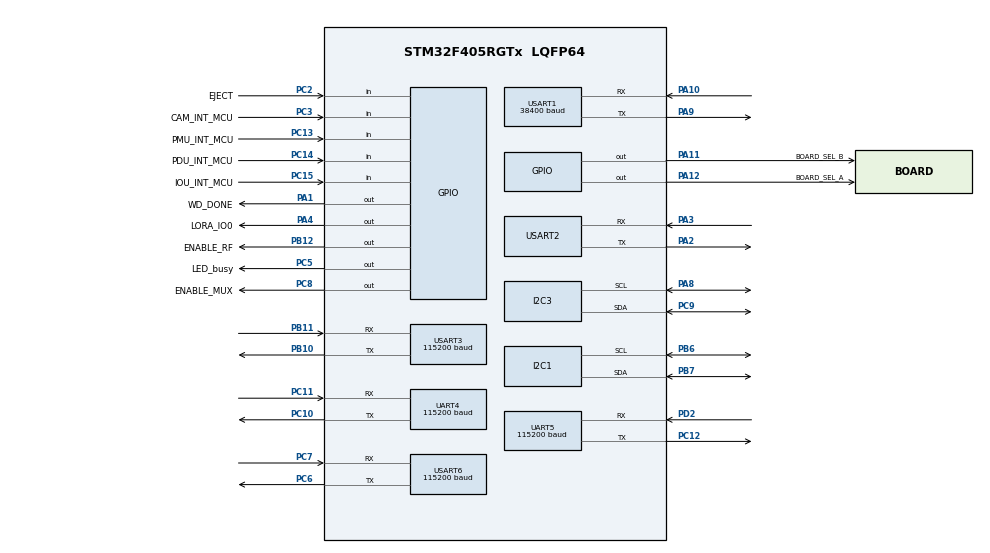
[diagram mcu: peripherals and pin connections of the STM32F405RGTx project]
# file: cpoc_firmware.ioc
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I2C1.I2C_Mode=I2C_Fast
I2C3.I2C_Mode=I2C_Fast
Mcu.Family=STM32F4
Mcu.Name=STM32F405RGTx
Mcu.Package=LQFP64
NVIC.I2C3_ER_IRQn=true\:0\:0\:false\:false\:true\:true\:true\:true
NVIC.I2C3_EV_IRQn=true\:0\:0\:false\:false\:true\:true\:true\:true
NVIC.PriorityGroup=NVIC_PRIORITYGROUP_4
NVIC.UART4_IRQn=true\:0\:0\:false\:false\:true\:true\:true\:true
NVIC.UART5_IRQn=true\:0\:0\:false\:false\:true\:true\:true\:true
NVIC.USART1_IRQn=true\:0\:0\:false\:false\:true\:true\:true\:true
NVIC.USART2_IRQn=true\:0\:0\:false\:false\:true\:true\:true\:true
NVIC.USART3_IRQn=true\:0\:0\:false\:false\:true\:true\:true\:true
NVIC.USART6_IRQn=true\:0\:0\:false\:false\:true\:true\:true\:true
PA1.GPIO_Label=WD_DONE
PA1.Signal=GPIO_Output
PA10.Mode=Asynchronous
PA10.Signal=USART1_RX
PA11.GPIO_Label=BOARD_SEL_B
PA11.Signal=GPIO_Output
PA12.GPIO_Label=BOARD_SEL_A
PA12.Signal=GPIO_Output
PA2.Mode=Asynchronous
PA2.Signal=USART2_TX
PA3.Mode=Asynchronous
PA3.Signal=USART2_RX
PA4.GPIO_Label=LORA_IO0
PA4.Signal=GPIO_Output
PA8.Mode=I2C
PA8.Signal=I2C3_SCL
PA9.Mode=Asynchronous
PA9.Signal=USART1_TX
PB10.Mode=Asynchronous
PB10.Signal=USART3_TX
PB11.Mode=Asynchronous
PB11.Signal=USART3_RX
PB12.GPIO_Label=ENABLE_RF
PB12.Signal=GPIO_Output
PB6.Mode=I2C
PB6.Signal=I2C1_SCL
PB7.Mode=I2C
PB7.Signal=I2C1_SDA
PC10.Mode=Asynchronous
PC10.Signal=UART4_TX
PC11.Mode=Asynchronous
PC11.Signal=UART4_RX
PC12.Mode=Asynchronous
PC12.Signal=UART5_TX
PC13-ANTI_TAMP.GPIO_Label=PMU_INT_MCU
PC13-ANTI_TAMP.Signal=GPIO_Input
PC14-OSC32_IN.GPIO_Label=PDU_INT_MCU
PC14-OSC32_IN.Signal=GPIO_Input
PC15-OSC32_OUT.GPIO_Label=IOU_INT_MCU
PC15-OSC32_OUT.Signal=GPIO_Input
PC2.GPIO_Label=EJECT
PC2.Signal=GPIO_Input
PC3.GPIO_Label=CAM_INT_MCU
PC3.Signal=GPIO_Input
PC5.GPIO_Label=LED_busy
PC5.Signal=GPIO_Output
PC6.Mode=Asynchronous
PC6.Signal=USART6_TX
PC7.Mode=Asynchronous
PC7.Signal=USART6_RX
PC8.GPIO_Label=ENABLE_MUX
PC8.Signal=GPIO_Output
PC9.Mode=I2C
PC9.Signal=I2C3_SDA
PD2.Mode=Asynchronous
PD2.Signal=UART5_RX
PH0-OSC_IN.Mode=HSE-External-Oscillator
PH0-OSC_IN.Signal=RCC_OSC_IN
PH1-OSC_OUT.Mode=HSE-External-Oscillator
PH1-OSC_OUT.Signal=RCC_OSC_OUT
ProjectManager.HeapSize=0x200
ProjectManager.StackSize=0x400
ProjectManager.TargetToolchain=STM32CubeIDE
RCC.48MHZClocksFreq_Value=96000000
RCC.AHBCLKDivider=RCC_SYSCLK_DIV2
RCC.AHBFreq_Value=48000000
RCC.APB1CLKDivider=RCC_HCLK_DIV2
RCC.APB1Freq_Value=24000000
RCC.APB1TimFreq_Value=48000000
RCC.APB2Freq_Value=48000000
RCC.APB2TimFreq_Value=48000000
RCC.CortexFreq_Value=48000000
RCC.HCLKFreq_Value=48000000
RCC.HSE_VALUE=8000000
RCC.HSI_VALUE=16000000
RCC.LSE_VALUE=32768
RCC.PLLM=4
RCC.PLLP=RCC_PLLP_DIV4
RCC.PLLSourceVirtual=RCC_PLLSOURCE_HSE
RCC.SYSCLKFreq_VALUE=96000000
RCC.SYSCLKSource=RCC_SYSCLKSOURCE_PLLCLK
RCC.VCOOutputFreq_Value=384000000
UART4.BaudRate=115200
UART4.VirtualMode=Asynchronous
UART5.BaudRate=115200
UART5.VirtualMode=Asynchronous
USART1.BaudRate=38400
USART1.VirtualMode=VM_ASYNC
USART2.VirtualMode=VM_ASYNC
USART3.BaudRate=115200
USART3.VirtualMode=VM_ASYNC
USART6.BaudRate=115200
USART6.VirtualMode=VM_ASYNC
board=custom

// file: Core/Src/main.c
/* USER CODE BEGIN Header */
/**
  ******************************************************************************
  * @file           : main.c
  * @brief          : Main program body
  ******************************************************************************
  * @attention
  *
  * Copyright (c) 2024 STMicroelectronics.
  * All rights reserved.
  *
  * This software is licensed under terms that can be found in the LICENSE file
  * in the root directory of this software component.
  * If no LICENSE file comes with this software, it is provided AS-IS.
  *
  ******************************************************************************
  */
/* USER CODE END Header */
#include "main.h"

/* USER CODE BEGIN Includes */
#include "../../Scheduler/scheduler.h"
#include "../LED/status_led.h"
#include "../../BSP/UART/uart.h"
#include "../CMDLine/cmdline.h"
#include "../CMDLine/command.h"
#include "../WATCHDOG/watchdog.h"
#include "../../ThirdParty/libfsp/fsp.h"
#include "../CMDLine/ACK_packet/ACKsend_packet.h"
#include "../../Core/CPOC/CPOC.h"
#include "../CMDLine/global_vars.h"
#include "../CMDLine/rs422.h"

#include "../CMDLine/cmd_IOU/iou_cmd.h"
#include "../CMDLine/cmd_PMU/PMU_cmd.h"
#include "../CMDLine/cmd_PDU/PDU_cmd.h"
#include "../GPS/gps.h"
#include "../IMG_I2C/img_i2c.h"

/* USER CODE END Includes */

void SystemClock_Config(void);
static void MX_GPIO_Init(void);
static void MX_I2C1_Init(void);
static void MX_USART6_UART_Init(void);
static void MX_UART5_Init(void);
static void MX_USART1_UART_Init(void);
static void MX_UART4_Init(void);
static void MX_USART3_UART_Init(void);
static void MX_I2C3_Init(void);
static void MX_USART2_UART_Init(void);

int main(void)
{

  /* MCU Configuration--------------------------------------------------------*/

  /* Reset of all peripherals, Initializes the Flash interface and the Systick. */
  LL_APB2_GRP1_EnableClock(LL_APB2_GRP1_PERIPH_SYSCFG);
  LL_APB1_GRP1_EnableClock(LL_APB1_GRP1_PERIPH_PWR);

  /* System interrupt init*/
  NVIC_SetPriorityGrouping(NVIC_PRIORITYGROUP_4);

  /* SysTick_IRQn interrupt configuration */
  NVIC_SetPriority(SysTick_IRQn, NVIC_EncodePriority(NVIC_GetPriorityGrouping(),15, 0));

  /* Configure the system clock */
  SystemClock_Config();

  /* Initialize all configured peripherals */
  MX_GPIO_Init();
  MX_I2C1_Init();
  MX_USART6_UART_Init();
  MX_UART5_Init();
  MX_USART1_UART_Init();
  MX_UART4_Init();
  MX_USART3_UART_Init();
  MX_I2C3_Init();
  MX_USART2_UART_Init();
  /* USER CODE BEGIN 2 */

  command_init();

  fsp_init(FSP_ADR_CPOC);
  LL_GPIO_ResetOutputPin(GPIOC, ENABLE_MUX_Pin);

  status_led_init();

  WDT_init();

  SCH_Initialize();

  status_led_create_task();

  send_packet_init();
  send_packet_create_task();

  command_create_task();

  COPC_create_task();

  WDT_create_task();

  IOU_create_task();
  PMU_create_task();
  PDU_create_task();
  rs422_create_task();
  GPS_create_task();
  I2C_img_create_task();

  SCH_StartSchedular();
  /* USER CODE END 2 */

  /* Infinite loop */
  while (1)
  {

    /* USER CODE BEGIN 3 */
	  SCH_HandleScheduledTask();
  }
  /* USER CODE END 3 */
}

void SystemClock_Config(void)
{
  LL_FLASH_SetLatency(LL_FLASH_LATENCY_1);
  while(LL_FLASH_GetLatency()!= LL_FLASH_LATENCY_1)
  {
  }
  LL_PWR_SetRegulVoltageScaling(LL_PWR_REGU_VOLTAGE_SCALE1);
  LL_RCC_HSE_Enable();

   /* Wait till HSE is ready */
  while(LL_RCC_HSE_IsReady() != 1)
  {

  }
  LL_RCC_PLL_ConfigDomain_SYS(LL_RCC_PLLSOURCE_HSE, LL_RCC_PLLM_DIV_4, 192, LL_RCC_PLLP_DIV_4);
  LL_RCC_PLL_Enable();

   /* Wait till PLL is ready */
  while(LL_RCC_PLL_IsReady() != 1)
  {

  }
  while (LL_PWR_IsActiveFlag_VOS() == 0)
  {
  }
  LL_RCC_SetAHBPrescaler(LL_RCC_SYSCLK_DIV_2);
  LL_RCC_SetAPB1Prescaler(LL_RCC_APB1_DIV_2);
  LL_RCC_SetAPB2Prescaler(LL_RCC_APB2_DIV_1);
  LL_RCC_SetSysClkSource(LL_RCC_SYS_CLKSOURCE_PLL);

   /* Wait till System clock is ready */
  while(LL_RCC_GetSysClkSource() != LL_RCC_SYS_CLKSOURCE_STATUS_PLL)
  {

  }
  LL_Init1msTick(48000000);
  LL_SetSystemCoreClock(48000000);
}

static void MX_I2C1_Init(void)
{

  LL_I2C_InitTypeDef I2C_InitStruct = {0};

  LL_GPIO_InitTypeDef GPIO_InitStruct = {0};

  LL_AHB1_GRP1_EnableClock(LL_AHB1_GRP1_PERIPH_GPIOB);
  /**I2C1 GPIO Configuration
  PB6   ------> I2C1_SCL
  PB7   ------> I2C1_SDA
  */
  GPIO_InitStruct.Pin = LL_GPIO_PIN_6|LL_GPIO_PIN_7;
  GPIO_InitStruct.Mode = LL_GPIO_MODE_ALTERNATE;
  GPIO_InitStruct.Speed = LL_GPIO_SPEED_FREQ_VERY_HIGH;
  GPIO_InitStruct.OutputType = LL_GPIO_OUTPUT_OPENDRAIN;
  GPIO_InitStruct.Pull = LL_GPIO_PULL_NO;
  GPIO_InitStruct.Alternate = LL_GPIO_AF_4;
  LL_GPIO_Init(GPIOB, &GPIO_InitStruct);

  /* Peripheral clock enable */
  LL_APB1_GRP1_EnableClock(LL_APB1_GRP1_PERIPH_I2C1);

  /** I2C Initialization
  */
  LL_I2C_DisableOwnAddress2(I2C1);
  LL_I2C_DisableGeneralCall(I2C1);
  LL_I2C_EnableClockStretching(I2C1);
  I2C_InitStruct.PeripheralMode = LL_I2C_MODE_I2C;
  I2C_InitStruct.ClockSpeed = 400000;
  I2C_InitStruct.DutyCycle = LL_I2C_DUTYCYCLE_2;
  I2C_InitStruct.OwnAddress1 = 0;
  I2C_InitStruct.TypeAcknowledge = LL_I2C_ACK;
  I2C_InitStruct.OwnAddrSize = LL_I2C_OWNADDRESS1_7BIT;
  LL_I2C_Init(I2C1, &I2C_InitStruct);
  LL_I2C_SetOwnAddress2(I2C1, 0);

}

static void MX_I2C3_Init(void)
{

  LL_I2C_InitTypeDef I2C_InitStruct = {0};

  LL_GPIO_InitTypeDef GPIO_InitStruct = {0};

  LL_AHB1_GRP1_EnableClock(LL_AHB1_GRP1_PERIPH_GPIOC);
  LL_AHB1_GRP1_EnableClock(LL_AHB1_GRP1_PERIPH_GPIOA);
  /**I2C3 GPIO Configuration
  PC9   ------> I2C3_SDA
  PA8   ------> I2C3_SCL
  */
  GPIO_InitStruct.Pin = LL_GPIO_PIN_9;
  GPIO_InitStruct.Mode = LL_GPIO_MODE_ALTERNATE;
  GPIO_InitStruct.Speed = LL_GPIO_SPEED_FREQ_VERY_HIGH;
  GPIO_InitStruct.OutputType = LL_GPIO_OUTPUT_OPENDRAIN;
  GPIO_InitStruct.Pull = LL_GPIO_PULL_NO;
  GPIO_InitStruct.Alternate = LL_GPIO_AF_4;
  LL_GPIO_Init(GPIOC, &GPIO_InitStruct);

  GPIO_InitStruct.Pin = LL_GPIO_PIN_8;
  GPIO_InitStruct.Mode = LL_GPIO_MODE_ALTERNATE;
  GPIO_InitStruct.Speed = LL_GPIO_SPEED_FREQ_VERY_HIGH;
  GPIO_InitStruct.OutputType = LL_GPIO_OUTPUT_OPENDRAIN;
  GPIO_InitStruct.Pull = LL_GPIO_PULL_NO;
  GPIO_InitStruct.Alternate = LL_GPIO_AF_4;
  LL_GPIO_Init(GPIOA, &GPIO_InitStruct);

  /* Peripheral clock enable */
  LL_APB1_GRP1_EnableClock(LL_APB1_GRP1_PERIPH_I2C3);

  /* I2C3 interrupt Init */
  NVIC_SetPriority(I2C3_EV_IRQn, NVIC_EncodePriority(NVIC_GetPriorityGrouping(),0, 0));
  NVIC_EnableIRQ(I2C3_EV_IRQn);
  NVIC_SetPriority(I2C3_ER_IRQn, NVIC_EncodePriority(NVIC_GetPriorityGrouping(),0, 0));
  NVIC_EnableIRQ(I2C3_ER_IRQn);

  /** I2C Initialization
  */
  LL_I2C_DisableOwnAddress2(I2C3);
  LL_I2C_DisableGeneralCall(I2C3);
  LL_I2C_EnableClockStretching(I2C3);
  I2C_InitStruct.PeripheralMode = LL_I2C_MODE_I2C;
  I2C_InitStruct.ClockSpeed = 400000;
  I2C_InitStruct.DutyCycle = LL_I2C_DUTYCYCLE_2;
  I2C_InitStruct.OwnAddress1 = 0;
  I2C_InitStruct.TypeAcknowledge = LL_I2C_ACK;
  I2C_InitStruct.OwnAddrSize = LL_I2C_OWNADDRESS1_7BIT;
  LL_I2C_Init(I2C3, &I2C_InitStruct);
  LL_I2C_SetOwnAddress2(I2C3, 0);

}

static void MX_UART4_Init(void)
{

  LL_USART_InitTypeDef USART_InitStruct = {0};

  LL_GPIO_InitTypeDef GPIO_InitStruct = {0};

  /* Peripheral clock enable */
  LL_APB1_GRP1_EnableClock(LL_APB1_GRP1_PERIPH_UART4);

  LL_AHB1_GRP1_EnableClock(LL_AHB1_GRP1_PERIPH_GPIOC);
  /**UART4 GPIO Configuration
  PC10   ------> UART4_TX
  PC11   ------> UART4_RX
  */
  GPIO_InitStruct.Pin = LL_GPIO_PIN_10|LL_GPIO_PIN_11;
  GPIO_InitStruct.Mode = LL_GPIO_MODE_ALTERNATE;
  GPIO_InitStruct.Speed = LL_GPIO_SPEED_FREQ_VERY_HIGH;
  GPIO_InitStruct.OutputType = LL_GPIO_OUTPUT_PUSHPULL;
  GPIO_InitStruct.Pull = LL_GPIO_PULL_NO;
  GPIO_InitStruct.Alternate = LL_GPIO_AF_8;
  LL_GPIO_Init(GPIOC, &GPIO_InitStruct);

  /* UART4 interrupt Init */
  NVIC_SetPriority(UART4_IRQn, NVIC_EncodePriority(NVIC_GetPriorityGrouping(),0, 0));
  NVIC_EnableIRQ(UART4_IRQn);

  USART_InitStruct.BaudRate = 115200;
  USART_InitStruct.DataWidth = LL_USART_DATAWIDTH_8B;
  USART_InitStruct.StopBits = LL_USART_STOPBITS_1;
  USART_InitStruct.Parity = LL_USART_PARITY_NONE;
  USART_InitStruct.TransferDirection = LL_USART_DIRECTION_TX_RX;
  USART_InitStruct.HardwareFlowControl = LL_USART_HWCONTROL_NONE;
  USART_InitStruct.OverSampling = LL_USART_OVERSAMPLING_16;
  LL_USART_Init(UART4, &USART_InitStruct);
  LL_USART_ConfigAsyncMode(UART4);
  LL_USART_Enable(UART4);

}

static void MX_UART5_Init(void)
{

  LL_USART_InitTypeDef USART_InitStruct = {0};

  LL_GPIO_InitTypeDef GPIO_InitStruct = {0};

  /* Peripheral clock enable */
  LL_APB1_GRP1_EnableClock(LL_APB1_GRP1_PERIPH_UART5);

  LL_AHB1_GRP1_EnableClock(LL_AHB1_GRP1_PERIPH_GPIOC);
  LL_AHB1_GRP1_EnableClock(LL_AHB1_GRP1_PERIPH_GPIOD);
  /**UART5 GPIO Configuration
  PC12   ------> UART5_TX
  PD2   ------> UART5_RX
  */
  GPIO_InitStruct.Pin = LL_GPIO_PIN_12;
  GPIO_InitStruct.Mode = LL_GPIO_MODE_ALTERNATE;
  GPIO_InitStruct.Speed = LL_GPIO_SPEED_FREQ_VERY_HIGH;
  GPIO_InitStruct.OutputType = LL_GPIO_OUTPUT_PUSHPULL;
  GPIO_InitStruct.Pull = LL_GPIO_PULL_NO;
  GPIO_InitStruct.Alternate = LL_GPIO_AF_8;
  LL_GPIO_Init(GPIOC, &GPIO_InitStruct);

  GPIO_InitStruct.Pin = LL_GPIO_PIN_2;
  GPIO_InitStruct.Mode = LL_GPIO_MODE_ALTERNATE;
  GPIO_InitStruct.Speed = LL_GPIO_SPEED_FREQ_VERY_HIGH;
  GPIO_InitStruct.OutputType = LL_GPIO_OUTPUT_PUSHPULL;
  GPIO_InitStruct.Pull = LL_GPIO_PULL_NO;
  GPIO_InitStruct.Alternate = LL_GPIO_AF_8;
  LL_GPIO_Init(GPIOD, &GPIO_InitStruct);

  /* UART5 interrupt Init */
  NVIC_SetPriority(UART5_IRQn, NVIC_EncodePriority(NVIC_GetPriorityGrouping(),0, 0));
  NVIC_EnableIRQ(UART5_IRQn);

  USART_InitStruct.BaudRate = 115200;
  USART_InitStruct.DataWidth = LL_USART_DATAWIDTH_8B;
  USART_InitStruct.StopBits = LL_USART_STOPBITS_1;
  USART_InitStruct.Parity = LL_USART_PARITY_NONE;
  USART_InitStruct.TransferDirection = LL_USART_DIRECTION_TX_RX;
  USART_InitStruct.HardwareFlowControl = LL_USART_HWCONTROL_NONE;
  USART_InitStruct.OverSampling = LL_USART_OVERSAMPLING_16;
  LL_USART_Init(UART5, &USART_InitStruct);
  LL_USART_ConfigAsyncMode(UART5);
  LL_USART_Enable(UART5);

}

static void MX_USART1_UART_Init(void)
{

  LL_USART_InitTypeDef USART_InitStruct = {0};

  LL_GPIO_InitTypeDef GPIO_InitStruct = {0};

  /* Peripheral clock enable */
  LL_APB2_GRP1_EnableClock(LL_APB2_GRP1_PERIPH_USART1);

  LL_AHB1_GRP1_EnableClock(LL_AHB1_GRP1_PERIPH_GPIOA);
  /**USART1 GPIO Configuration
  PA9   ------> USART1_TX
  PA10   ------> USART1_RX
  */
  GPIO_InitStruct.Pin = LL_GPIO_PIN_9|LL_GPIO_PIN_10;
  GPIO_InitStruct.Mode = LL_GPIO_MODE_ALTERNATE;
  GPIO_InitStruct.Speed = LL_GPIO_SPEED_FREQ_VERY_HIGH;
  GPIO_InitStruct.OutputType = LL_GPIO_OUTPUT_PUSHPULL;
  GPIO_InitStruct.Pull = LL_GPIO_PULL_NO;
  GPIO_InitStruct.Alternate = LL_GPIO_AF_7;
  LL_GPIO_Init(GPIOA, &GPIO_InitStruct);

  /* USART1 interrupt Init */
  NVIC_SetPriority(USART1_IRQn, NVIC_EncodePriority(NVIC_GetPriorityGrouping(),0, 0));
  NVIC_EnableIRQ(USART1_IRQn);

  USART_InitStruct.BaudRate = 38400;
  USART_InitStruct.DataWidth = LL_USART_DATAWIDTH_8B;
  USART_InitStruct.StopBits = LL_USART_STOPBITS_1;
  USART_InitStruct.Parity = LL_USART_PARITY_NONE;
  USART_InitStruct.TransferDirection = LL_USART_DIRECTION_TX_RX;
  USART_InitStruct.HardwareFlowControl = LL_USART_HWCONTROL_NONE;
  USART_InitStruct.OverSampling = LL_USART_OVERSAMPLING_16;
  LL_USART_Init(USART1, &USART_InitStruct);
  LL_USART_ConfigAsyncMode(USART1);
  LL_USART_Enable(USART1);

}

static void MX_USART2_UART_Init(void)
{

  LL_USART_InitTypeDef USART_InitStruct = {0};

  LL_GPIO_InitTypeDef GPIO_InitStruct = {0};

  /* Peripheral clock enable */
  LL_APB1_GRP1_EnableClock(LL_APB1_GRP1_PERIPH_USART2);

  LL_AHB1_GRP1_EnableClock(LL_AHB1_GRP1_PERIPH_GPIOA);
  /**USART2 GPIO Configuration
  PA2   ------> USART2_TX
  PA3   ------> USART2_RX
  */
  GPIO_InitStruct.Pin = LL_GPIO_PIN_2|LL_GPIO_PIN_3;
  GPIO_InitStruct.Mode = LL_GPIO_MODE_ALTERNATE;
  GPIO_InitStruct.Speed = LL_GPIO_SPEED_FREQ_VERY_HIGH;
  GPIO_InitStruct.OutputType = LL_GPIO_OUTPUT_PUSHPULL;
  GPIO_InitStruct.Pull = LL_GPIO_PULL_NO;
  GPIO_InitStruct.Alternate = LL_GPIO_AF_7;
  LL_GPIO_Init(GPIOA, &GPIO_InitStruct);

  /* USART2 interrupt Init */
  NVIC_SetPriority(USART2_IRQn, NVIC_EncodePriority(NVIC_GetPriorityGrouping(),0, 0));
  NVIC_EnableIRQ(USART2_IRQn);

  USART_InitStruct.BaudRate = 115200;
  USART_InitStruct.DataWidth = LL_USART_DATAWIDTH_8B;
  USART_InitStruct.StopBits = LL_USART_STOPBITS_1;
  USART_InitStruct.Parity = LL_USART_PARITY_NONE;
  USART_InitStruct.TransferDirection = LL_USART_DIRECTION_TX_RX;
  USART_InitStruct.HardwareFlowControl = LL_USART_HWCONTROL_NONE;
  USART_InitStruct.OverSampling = LL_USART_OVERSAMPLING_16;
  LL_USART_Init(USART2, &USART_InitStruct);
  LL_USART_ConfigAsyncMode(USART2);
  LL_USART_Enable(USART2);

}

static void MX_USART3_UART_Init(void)
{

  LL_USART_InitTypeDef USART_InitStruct = {0};

  LL_GPIO_InitTypeDef GPIO_InitStruct = {0};

  /* Peripheral clock enable */
  LL_APB1_GRP1_EnableClock(LL_APB1_GRP1_PERIPH_USART3);

  LL_AHB1_GRP1_EnableClock(LL_AHB1_GRP1_PERIPH_GPIOB);
  /**USART3 GPIO Configuration
  PB10   ------> USART3_TX
  PB11   ------> USART3_RX
  */
  GPIO_InitStruct.Pin = LL_GPIO_PIN_10|LL_GPIO_PIN_11;
  GPIO_InitStruct.Mode = LL_GPIO_MODE_ALTERNATE;
  GPIO_InitStruct.Speed = LL_GPIO_SPEED_FREQ_VERY_HIGH;
  GPIO_InitStruct.OutputType = LL_GPIO_OUTPUT_PUSHPULL;
  GPIO_InitStruct.Pull = LL_GPIO_PULL_NO;
  GPIO_InitStruct.Alternate = LL_GPIO_AF_7;
  LL_GPIO_Init(GPIOB, &GPIO_InitStruct);

  /* USART3 interrupt Init */
  NVIC_SetPriority(USART3_IRQn, NVIC_EncodePriority(NVIC_GetPriorityGrouping(),0, 0));
  NVIC_EnableIRQ(USART3_IRQn);

  USART_InitStruct.BaudRate = 115200;
  USART_InitStruct.DataWidth = LL_USART_DATAWIDTH_8B;
  USART_InitStruct.StopBits = LL_USART_STOPBITS_1;
  USART_InitStruct.Parity = LL_USART_PARITY_NONE;
  USART_InitStruct.TransferDirection = LL_USART_DIRECTION_TX_RX;
  USART_InitStruct.HardwareFlowControl = LL_USART_HWCONTROL_NONE;
  USART_InitStruct.OverSampling = LL_USART_OVERSAMPLING_16;
  LL_USART_Init(USART3, &USART_InitStruct);
  LL_USART_ConfigAsyncMode(USART3);
  LL_USART_Enable(USART3);

}

static void MX_USART6_UART_Init(void)
{

  LL_USART_InitTypeDef USART_InitStruct = {0};

  LL_GPIO_InitTypeDef GPIO_InitStruct = {0};

  /* Peripheral clock enable */
  LL_APB2_GRP1_EnableClock(LL_APB2_GRP1_PERIPH_USART6);

  LL_AHB1_GRP1_EnableClock(LL_AHB1_GRP1_PERIPH_GPIOC);
  /**USART6 GPIO Configuration
  PC6   ------> USART6_TX
  PC7   ------> USART6_RX
  */
  GPIO_InitStruct.Pin = LL_GPIO_PIN_6|LL_GPIO_PIN_7;
  GPIO_InitStruct.Mode = LL_GPIO_MODE_ALTERNATE;
  GPIO_InitStruct.Speed = LL_GPIO_SPEED_FREQ_VERY_HIGH;
  GPIO_InitStruct.OutputType = LL_GPIO_OUTPUT_PUSHPULL;
  GPIO_InitStruct.Pull = LL_GPIO_PULL_NO;
  GPIO_InitStruct.Alternate = LL_GPIO_AF_8;
  LL_GPIO_Init(GPIOC, &GPIO_InitStruct);

  /* USART6 interrupt Init */
  NVIC_SetPriority(USART6_IRQn, NVIC_EncodePriority(NVIC_GetPriorityGrouping(),0, 0));
  NVIC_EnableIRQ(USART6_IRQn);

  USART_InitStruct.BaudRate = 115200;
  USART_InitStruct.DataWidth = LL_USART_DATAWIDTH_8B;
  USART_InitStruct.StopBits = LL_USART_STOPBITS_1;
  USART_InitStruct.Parity = LL_USART_PARITY_NONE;
  USART_InitStruct.TransferDirection = LL_USART_DIRECTION_TX_RX;
  USART_InitStruct.HardwareFlowControl = LL_USART_HWCONTROL_NONE;
  USART_InitStruct.OverSampling = LL_USART_OVERSAMPLING_16;
  LL_USART_Init(USART6, &USART_InitStruct);
  LL_USART_ConfigAsyncMode(USART6);
  LL_USART_Enable(USART6);

}

static void MX_GPIO_Init(void)
{
  LL_GPIO_InitTypeDef GPIO_InitStruct = {0};

  /* GPIO Ports Clock Enable */
  LL_AHB1_GRP1_EnableClock(LL_AHB1_GRP1_PERIPH_GPIOC);
  LL_AHB1_GRP1_EnableClock(LL_AHB1_GRP1_PERIPH_GPIOH);
  LL_AHB1_GRP1_EnableClock(LL_AHB1_GRP1_PERIPH_GPIOA);
  LL_AHB1_GRP1_EnableClock(LL_AHB1_GRP1_PERIPH_GPIOB);
  LL_AHB1_GRP1_EnableClock(LL_AHB1_GRP1_PERIPH_GPIOD);

  /**/
  LL_GPIO_ResetOutputPin(GPIOA, WD_DONE_Pin|LORA_IO0_Pin|BOARD_SEL_B_Pin|BOARD_SEL_A_Pin);

  /**/
  LL_GPIO_ResetOutputPin(GPIOC, LED_busy_Pin|ENABLE_MUX_Pin);

  /**/
  LL_GPIO_ResetOutputPin(ENABLE_RF_GPIO_Port, ENABLE_RF_Pin);

  /**/
  GPIO_InitStruct.Pin = PMU_INT_MCU_Pin|PDU_INT_MCU_Pin|IOU_INT_MCU_Pin|EJECT_Pin
                          |CAM_INT_MCU_Pin;
  GPIO_InitStruct.Mode = LL_GPIO_MODE_INPUT;
  GPIO_InitStruct.Pull = LL_GPIO_PULL_NO;
  LL_GPIO_Init(GPIOC, &GPIO_InitStruct);

  /**/
  GPIO_InitStruct.Pin = WD_DONE_Pin|LORA_IO0_Pin|BOARD_SEL_B_Pin|BOARD_SEL_A_Pin;
  GPIO_InitStruct.Mode = LL_GPIO_MODE_OUTPUT;
  GPIO_InitStruct.Speed = LL_GPIO_SPEED_FREQ_LOW;
  GPIO_InitStruct.OutputType = LL_GPIO_OUTPUT_PUSHPULL;
  GPIO_InitStruct.Pull = LL_GPIO_PULL_NO;
  LL_GPIO_Init(GPIOA, &GPIO_InitStruct);

  /**/
  GPIO_InitStruct.Pin = LED_busy_Pin|ENABLE_MUX_Pin;
  GPIO_InitStruct.Mode = LL_GPIO_MODE_OUTPUT;
  GPIO_InitStruct.Speed = LL_GPIO_SPEED_FREQ_LOW;
  GPIO_InitStruct.OutputType = LL_GPIO_OUTPUT_PUSHPULL;
  GPIO_InitStruct.Pull = LL_GPIO_PULL_NO;
  LL_GPIO_Init(GPIOC, &GPIO_InitStruct);

  /**/
  GPIO_InitStruct.Pin = ENABLE_RF_Pin;
  GPIO_InitStruct.Mode = LL_GPIO_MODE_OUTPUT;
  GPIO_InitStruct.Speed = LL_GPIO_SPEED_FREQ_LOW;
  GPIO_InitStruct.OutputType = LL_GPIO_OUTPUT_PUSHPULL;
  GPIO_InitStruct.Pull = LL_GPIO_PULL_NO;
  LL_GPIO_Init(ENABLE_RF_GPIO_Port, &GPIO_InitStruct);

}

void Error_Handler(void)
{
  __disable_irq();
  while (1)
  {
  }
}
